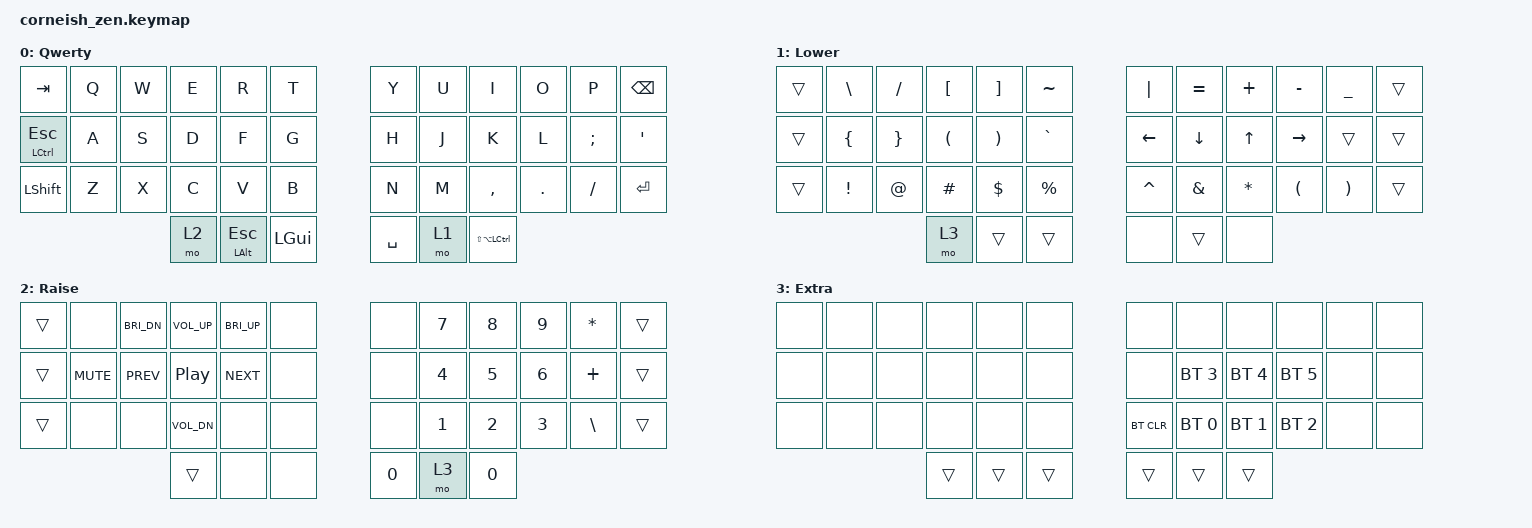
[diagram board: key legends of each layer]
/*
*
* Copyright (c) 2021 Darryl deHaan
* SPDX-License-Identifier: MIT
*
*/
/*
* ## RJH NOTES
* 
* ### Resources
* - Docs: https://zmk.dev/docs/codes
* - Key tester: https://keyboardtester.io/tester/
*
* ### Examples:
* - https://github.com/rastasheep/zmk-config/blob/master/config/corne.keymap
*/

#include <behaviors.dtsi>
#include <dt-bindings/zmk/keys.h>
#include <dt-bindings/zmk/bt.h>

#define HYPER LS(LA(LCTRL))

/ {
  chosen {
    zmk,matrix_transform = &default_transform;
    //zmk,matrix_transform = &five_column_transform;
  };
};

/ {
        keymap {
                compatible = "zmk,keymap";

                default_layer {
                        label = "Qwerty";
                        bindings = <
           &kp TAB   &kp Q   &kp W   &kp E   &kp R          &kp T                             &kp Y       &kp U       &kp I     &kp O      &kp P    &kp BSPC
     &mt LCTRL ESC   &kp A   &kp S   &kp D   &kp F          &kp G                             &kp H       &kp J       &kp K     &kp L   &kp SEMI     &kp SQT
         &kp LSHFT   &kp Z   &kp X   &kp C   &kp V          &kp B                             &kp N       &kp M   &kp COMMA   &kp DOT   &kp FSLH   &kp ENTER
                                             &mo 2   &mt LALT ESC   &kp LGUI      &kp SPACE   &mo 1   &kp HYPER
                        >;
                };
                
                lower_layer {
                        label = "Lower";
                        bindings = <
     &trans   &kp BSLH   &kp FSLH   &kp LBKT   &kp RBKT   &kp TILDE                       &kp PIPE   &kp EQUAL    &kp PLUS   &kp MINUS   &kp UNDER   &trans
     &trans   &kp LBRC   &kp RBRC   &kp LPAR   &kp RPAR   &kp GRAVE                       &kp LEFT    &kp DOWN      &kp UP   &kp RIGHT      &trans   &trans
     &trans   &kp EXCL     &kp AT   &kp HASH   &kp DLLR   &kp PRCNT                      &kp CARET    &kp AMPS   &kp ASTRK    &kp LPAR    &kp RPAR   &trans
                                                  &mo 3      &trans   &trans     &none      &trans       &none
                        >;
                };

                raise_layer {
                        label = "Raise";
                        bindings = <
     &trans        &none   &kp C_BRI_DN   &kp C_VOL_UP   &kp C_BRI_UP   &none                       &none   &kp N7   &kp N8   &kp N9   &kp ASTRK   &trans
     &trans   &kp C_MUTE     &kp C_PREV       &kp C_PP     &kp C_NEXT   &none                       &none   &kp N4   &kp N5   &kp N6    &kp PLUS   &trans
     &trans        &none          &none   &kp C_VOL_DN          &none   &none                       &none   &kp N1   &kp N2   &kp N3    &kp BSLH   &trans
                                                               &trans   &none   &none      &kp N0   &mo 3   &kp N0 
                        >;
                };

                dual_layer {
                        label = "Extra";
                        bindings = <
     &none   &none   &none   &none    &none   &none                              &none          &none          &none          &none   &none   &none
     &none   &none   &none   &none    &none   &none                              &none   &bt BT_SEL 3   &bt BT_SEL 4   &bt BT_SEL 5   &none   &none
     &none   &none   &none   &none    &none   &none                         &bt BT_CLR   &bt BT_SEL 0   &bt BT_SEL 1   &bt BT_SEL 2   &none   &none
                                     &trans   &trans   &trans      &trans       &trans         &trans
                        >;
                };
        };
};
